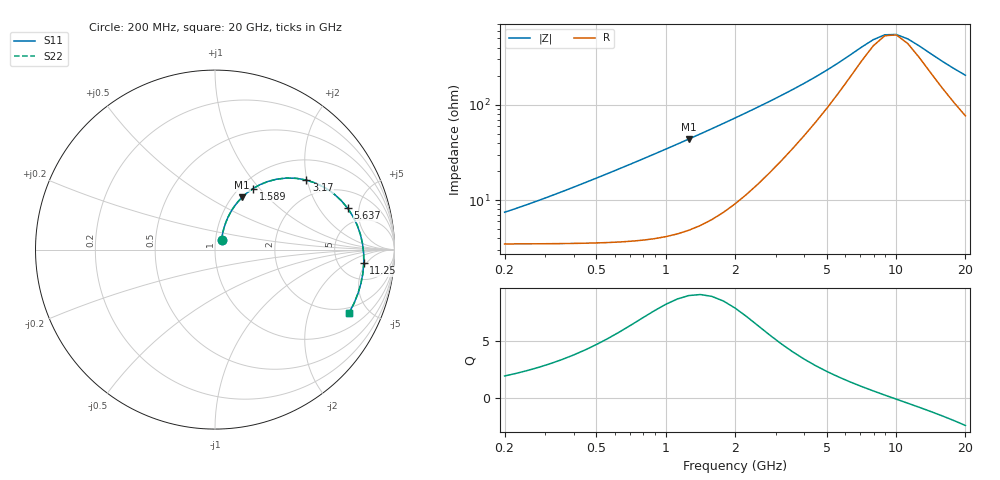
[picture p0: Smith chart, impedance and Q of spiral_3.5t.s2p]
# GHz S RI R 50
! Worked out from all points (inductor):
!   41 points, 200 MHz to 20 GHz, reference 50 ohm
!   read as 1/Y11, port 2 shorted: L = 5.26 nH near 317 MHz
!   highest Q = 9.03 at 1.262 GHz (marker M1), where L = 5.49 nH
!   self-resonance near 9.582 GHz
!   S11 on the Smith chart (normalised r, x): 200 MHz: 1.07, +0.11; 1.589 GHz: 1.14, +0.92; 3.17 GHz: 1.51, +1.98; 5.637 GHz: 3.31, +3.81; 11.25 GHz: 8.74, -4.36; 20 GHz: 1.66, -3.72
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0.2  0.0363 0.051  0.9616 -0.0717  0.9616 -0.0717  0.0363 0.051
0.2825075  0.0392 0.0719  0.9567 -0.1008  0.9567 -0.1008  0.0392 0.0719
0.3990525  0.0451 0.1012  0.947 -0.1412  0.947 -0.1412  0.0451 0.1012
0.5023773  0.0521 0.1268  0.9357 -0.1759  0.9357 -0.1759  0.0521 0.1268
0.6324555  0.0631 0.1584  0.9183 -0.2179  0.9183 -0.2179  0.0631 0.1584
0.8933672  0.0929 0.2182  0.8736 -0.295  0.8736 -0.295  0.0929 0.2182
1.261915  0.1502 0.2909  0.7937 -0.3838  0.7937 -0.3838  0.1502 0.2909
1.588656  0.2118 0.3401  0.7135 -0.4408  0.7135 -0.4408  0.2118 0.3401
2.244037  0.3449 0.3926  0.551 -0.4986  0.551 -0.4986  0.3449 0.3926
3.169786  0.5092 0.3872  0.3609 -0.4923  0.3609 -0.4923  0.5092 0.3872
3.556559  0.5637 0.3692  0.2994 -0.4736  0.2994 -0.4736  0.5637 0.3692
4.477442  0.6621 0.311  0.1893 -0.4146  0.1893 -0.4146  0.6621 0.311
5.636766  0.7396 0.2301  0.1031 -0.3353  0.1031 -0.3353  0.7396 0.2301
7.096268  0.7928 0.1348  0.0433 -0.2455  0.0433 -0.2455  0.7928 0.1348
8.933672  0.8222 0.0315  0.00869 -0.1524  0.00869 -0.1524  0.8222 0.0315
10.02374  0.8283 -0.022  0.000108 -0.106  0.000108 -0.106  0.8283 -0.022
11.24683  0.8289 -0.0765  -0.00294 -0.0603  -0.00294 -0.0603  0.8289 -0.0765
12.61915  0.824 -0.1318  -0.000569 -0.0155  -0.000569 -0.0155  0.824 -0.1318
14.15892  0.8133 -0.1876  0.00721 0.028  0.00721 0.028  0.8133 -0.1876
15.88656  0.7968 -0.2438  0.0204 0.0699  0.0204 0.0699  0.7968 -0.2438
17.82502  0.7742 -0.3001  0.0392 0.1097  0.0392 0.1097  0.7742 -0.3001
20  0.7452 -0.3559  0.0637 0.1467  0.0637 0.1467  0.7452 -0.3559
